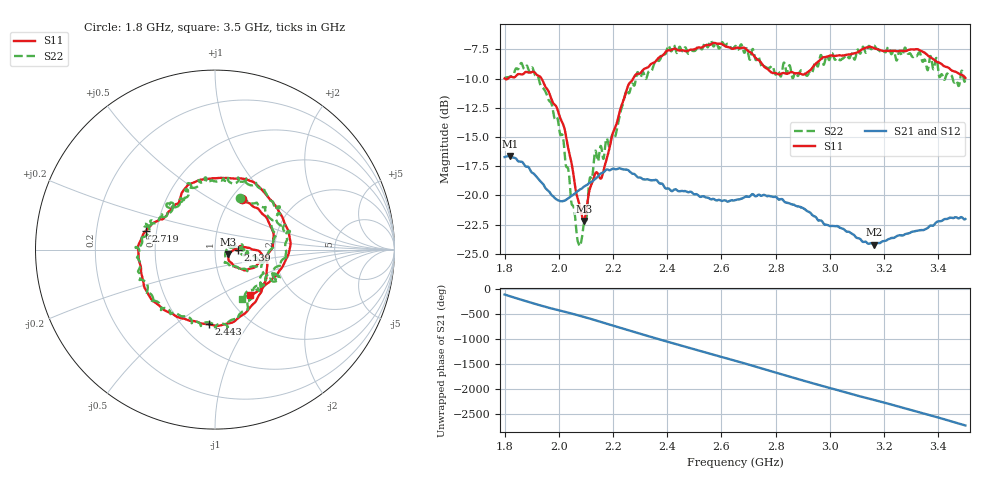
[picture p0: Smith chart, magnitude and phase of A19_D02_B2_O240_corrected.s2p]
! Created with skrf 1.9.0 (http://scikit-rf.org).
# Hz S RI R 50.0
!freq ReS11 ImS11 ReS21 ImS21 ReS12 ImS12 ReS22 ImS22
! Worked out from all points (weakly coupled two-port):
!   1601 points, 1.8 GHz to 3.5 GHz, reference 50 ohm
!   highest |S21| = -16.63 dB at 1.82 GHz (marker M1); lowest = -24.2 dB at 3.163 GHz (marker M2)
!   lowest |S11| = -22.2 dB at 2.092 GHz (marker M3), VSWR 1.17, Z = 57.9 - j2.91 ohm
!   |S11| at or under -10 dB: 1.801 GHz to 1.812 GHz (10.86 MHz wide, 0.601 % of centre); 1.937 GHz to 2.274 GHz (337.8 MHz wide, 16 % of centre)
!   |S22| runs from -24.3 to -6.7 dB; largest |S21 - S12| = 0.0025
!   S11 on the Smith chart (normalised r, x): 1.8 GHz: 1.12, +0.70; 2.139 GHz: 1.29, -0.01; 2.443 GHz: 0.66, -0.67; 2.719 GHz: 0.44, +0.11; 3.5 GHz: 1.27, -0.71
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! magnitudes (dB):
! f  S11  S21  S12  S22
! 1.8 GHz  -10.0  -16.7  -16.7  -9.9
! 1.82 GHz  -9.9  -16.6  -16.7  -9.8
! 1.902 GHz  -9.4  -18.1  -18.0  -9.1
! 1.968 GHz  -11.4  -19.8  -19.8  -12.0
! 2.02 GHz  -14.2  -20.5  -20.5  -16.0
! 2.07 GHz  -20.3  -19.6  -19.6  -23.9
! 2.084 GHz  -21.6  -19.4  -19.4  -23.8
! 2.092 GHz  -22.2  -19.3  -19.3  -22.5
! 2.139 GHz  -18.0  -18.5  -18.5  -16.5
! 2.161 GHz  -18.2  -18.1  -18.0  -16.6
! 2.209 GHz  -14.1  -17.8  -17.7  -14.9
! 2.259 GHz  -10.4  -17.9  -17.9  -11.3
! 2.367 GHz  -8.2  -18.9  -18.8  -8.5
! 2.443 GHz  -7.6  -19.6  -19.6  -7.4
! 2.65 GHz  -7.4  -20.4  -20.4  -7.2
! 2.719 GHz  -8.0  -19.9  -19.9  -7.7
! 2.808 GHz  -9.6  -20.3  -20.2  -9.3
! 2.934 GHz  -9.1  -21.7  -21.6  -9.6
! 3.163 GHz  -7.4  -24.2  -24.2  -7.2
! 3.217 GHz  -7.6  -23.7  -23.7  -7.3
! 3.327 GHz  -7.5  -23.0  -23.0  -7.8
! 3.5 GHz  -9.9  -22.0  -22.0  -10.0
